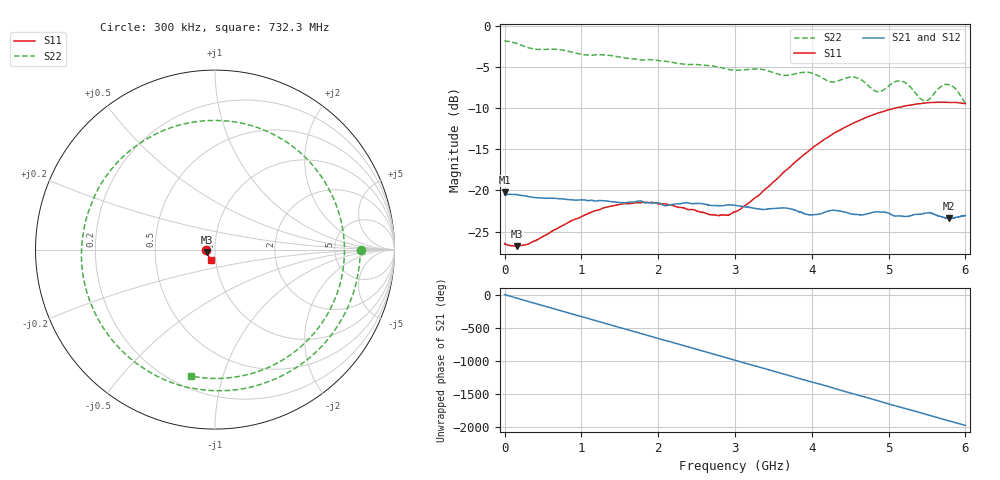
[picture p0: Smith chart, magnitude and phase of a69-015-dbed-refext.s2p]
!  3/18/2021  08:15:13
! Ref Plane: 13.288 mm
# MHZ S MA R  50
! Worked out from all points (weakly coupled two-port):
!   10001 points, 300 kHz to 6 GHz, reference 50 ohm
!   highest |S21| = -20.22 dB at 300 kHz (marker M1); lowest = -23.4 dB at 5.79 GHz (marker M2)
!   lowest |S11| = -26.8 dB at 156.3 MHz (marker M3), VSWR 1.10, Z = 45.8 - j1.22 ohm
!   |S11| at or under -10 dB: start of sweep to 5.077 GHz
!   |S22| runs from -9.4 to -1.8 dB; largest |S21 - S12| = 0.0021
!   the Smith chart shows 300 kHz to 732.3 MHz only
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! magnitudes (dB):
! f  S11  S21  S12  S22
! 300 kHz  -26.4  -20.2  -20.4  -1.8
! 156.3 MHz  -26.8  -20.5  -20.5  -2.1
! 409.5 MHz  -26.1  -20.9  -20.9  -2.8
! 1 GHz  -23.2  -21.1  -21.1  -3.4
! 1.535 GHz  -21.6  -21.5  -21.5  -3.8
! 2.001 GHz  -21.6  -21.5  -21.5  -4.2
! 2.766 GHz  -23.0  -21.8  -21.8  -5.0
! 3 GHz  -22.6  -21.8  -21.8  -5.4
! 3.321 GHz  -20.5  -22.3  -22.3  -5.2
! 3.671 GHz  -17.5  -22.1  -22.1  -6.0
! 4 GHz  -14.9  -23.0  -22.9  -5.7
! 4.259 GHz  -13.2  -22.4  -22.4  -6.8
! 4.578 GHz  -11.7  -22.9  -22.9  -6.3
! 4.849 GHz  -10.6  -22.6  -22.6  -8.0
! 5 GHz  -10.2  -22.8  -22.8  -7.3
! 5.098 GHz  -10.0  -23.1  -23.1  -6.7
! 5.197 GHz  -9.8  -23.1  -23.1  -6.8
! 5.477 GHz  -9.4  -22.8  -22.7  -9.1
! 5.687 GHz  -9.3  -23.2  -23.2  -7.3
! 5.79 GHz  -9.3  -23.4  -23.4  -7.2
! 5.877 GHz  -9.3  -23.3  -23.3  -7.7
! 6 GHz  -9.4  -23.0  -23.0  -9.4
